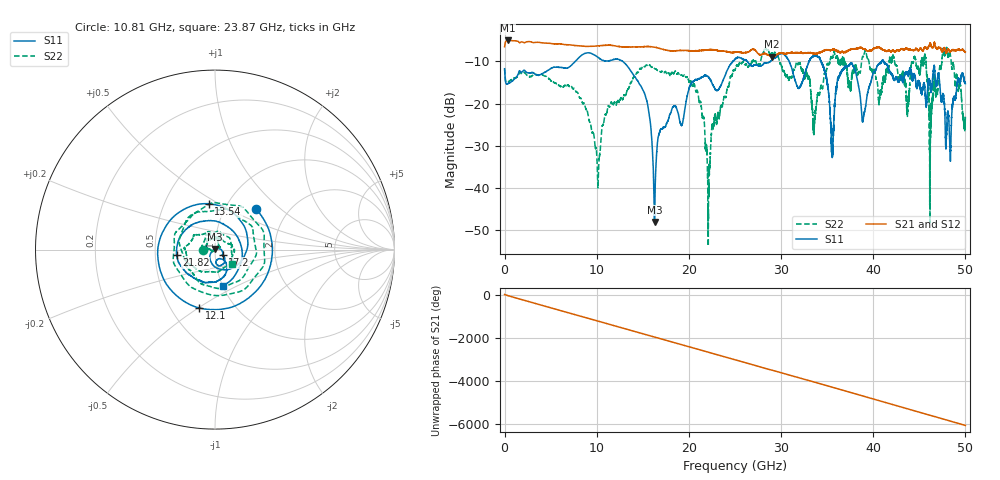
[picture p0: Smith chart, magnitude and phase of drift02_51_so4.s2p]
!Created with skrf (http://scikit-rf.org).
# Hz S RI R 50.0
!freq ReS11 ImS11 ReS21 ImS21 ReS12 ImS12 ReS22 ImS22
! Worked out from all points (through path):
!   10001 points, 300 kHz to 50 GHz, reference 50 ohm
!   highest |S21| = -5.04 dB at 325.3 MHz (marker M1); lowest = -8.9 dB at 28.98 GHz (marker M2)
!   group delay of S21, straight-line fit = 336 ps
!   lowest |S11| = -48.1 dB at 16.27 GHz (marker M3), VSWR 1.01, Z = 49.9 + j0.37 ohm
!   |S11| at or under -10 dB: start of sweep to 7.666 GHz; 12.82 GHz to 24.77 GHz (11.95 GHz wide, 63.6 % of centre); 41.13 GHz to end of sweep (the widest 3 of 13)
!   |S22| runs from -53.8 to -6.7 dB; largest |S21 - S12| = 0.033
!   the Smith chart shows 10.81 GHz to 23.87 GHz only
!   S11 on the Smith chart (normalised r, x): 10.81 GHz: 1.38, +0.70; 12.1 GHz: 0.69, -0.50; 13.54 GHz: 0.82, +0.45; 17.2 GHz: 1.09, -0.06; 21.82 GHz: 0.65, -0.04; 23.87 GHz: 1.01, -0.42
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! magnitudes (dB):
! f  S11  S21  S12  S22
! 300 kHz  -11.7  -6.5  -6.5  -11.7
! 325.3 MHz  -15.3  -5.0  -5.0  -15.1
! 8.335 GHz  -8.6  -6.4  -6.4  -19.1
! 10.11 GHz  -9.0  -6.3  -6.3  -38.7
! 10.81 GHz  -9.9  -6.2  -6.2  -23.7
! 12.1 GHz  -9.5  -6.4  -6.4  -20.3
! 13.54 GHz  -11.8  -6.6  -6.6  -15.9
! 16.27 GHz  -48.1  -6.6  -6.6  -11.7
! 16.67 GHz  -27.9  -6.8  -6.8  -12.2
! 17.2 GHz  -25.8  -7.1  -7.1  -12.7
! 21.82 GHz  -13.3  -7.3  -7.3  -30.2
! 23.87 GHz  -13.7  -7.6  -7.6  -18.3
! 25 GHz  -9.5  -7.8  -7.8  -12.0
! 28.98 GHz  -9.7  -8.9  -8.9  -8.0
! 33.34 GHz  -9.1  -8.0  -8.0  -20.3
! 35.55 GHz  -31.6  -7.2  -7.2  -9.2
! 36.78 GHz  -11.9  -7.8  -8.0  -9.8
! 41.67 GHz  -11.8  -7.4  -7.4  -12.3
! 45.49 GHz  -15.7  -7.0  -7.0  -9.8
! 46.25 GHz  -17.4  -6.1  -6.1  -22.4
! 48.12 GHz  -21.8  -7.2  -7.1  -8.9
! 50 GHz  -15.3  -7.8  -7.8  -23.4
